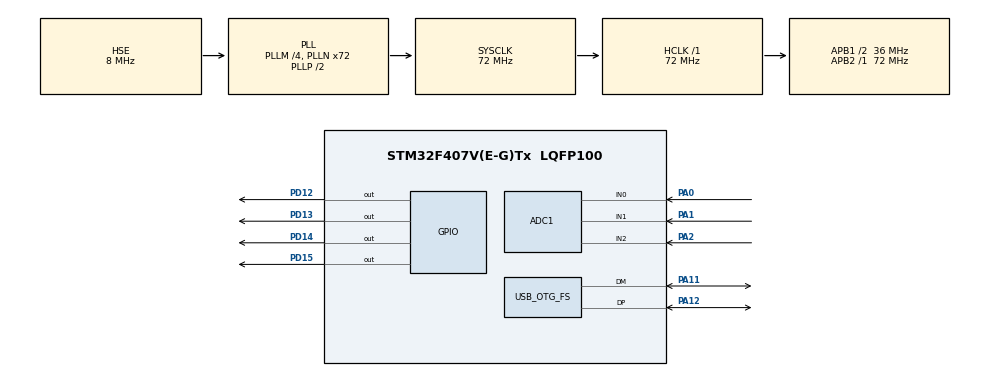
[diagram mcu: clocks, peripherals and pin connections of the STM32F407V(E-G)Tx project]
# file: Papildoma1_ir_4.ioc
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ADC1.Channel-0\#ChannelRegularConversion=ADC_CHANNEL_0
ADC1.NbrOfConversionFlag=1
ADC1.Rank-0\#ChannelRegularConversion=1
ADC1.SamplingTime-0\#ChannelRegularConversion=ADC_SAMPLETIME_3CYCLES
ADC1.master=1
Mcu.Family=STM32F4
Mcu.Name=STM32F407V(E-G)Tx
Mcu.Package=LQFP100
NVIC.OTG_FS_IRQn=true\:0\:0\:false\:false\:true\:false\:true\:true
NVIC.PriorityGroup=NVIC_PRIORITYGROUP_0
PA0-WKUP.Signal=ADCx_IN0
PA1.Signal=ADCx_IN1
PA11.Mode=Device_Only
PA11.Signal=USB_OTG_FS_DM
PA12.Mode=Device_Only
PA12.Signal=USB_OTG_FS_DP
PA2.Signal=ADCx_IN2
PD12.Signal=GPIO_Output
PD13.Signal=GPIO_Output
PD14.Signal=GPIO_Output
PD15.Signal=GPIO_Output
PH0-OSC_IN.Mode=HSE-External-Oscillator
PH0-OSC_IN.Signal=RCC_OSC_IN
PH1-OSC_OUT.Mode=HSE-External-Oscillator
PH1-OSC_OUT.Signal=RCC_OSC_OUT
ProjectManager.HeapSize=0x200
ProjectManager.StackSize=0x400
ProjectManager.TargetToolchain=STM32CubeIDE
RCC.48MHZClocksFreq_Value=48000000
RCC.AHBFreq_Value=72000000
RCC.APB1CLKDivider=RCC_HCLK_DIV2
RCC.APB1Freq_Value=36000000
RCC.APB1TimFreq_Value=72000000
RCC.APB2Freq_Value=72000000
RCC.APB2TimFreq_Value=72000000
RCC.CortexFreq_Value=72000000
RCC.HCLKFreq_Value=72000000
RCC.HSE_VALUE=8000000
RCC.HSI_VALUE=16000000
RCC.LSE_VALUE=32768
RCC.PLLM=4
RCC.PLLN=72
RCC.PLLQ=3
RCC.SYSCLKFreq_VALUE=72000000
RCC.SYSCLKSource=RCC_SYSCLKSOURCE_PLLCLK
RCC.VCOOutputFreq_Value=144000000
SH.ADCx_IN0.0=ADC1_IN0,IN0
SH.ADCx_IN1.0=ADC1_IN1,IN1
SH.ADCx_IN2.0=ADC1_IN2,IN2
USB_DEVICE.CLASS_NAME_FS=CDC
USB_DEVICE.VirtualMode-CDC_FS=Cdc
USB_DEVICE.VirtualModeFS=Cdc_FS
USB_OTG_FS.VirtualMode=Device_Only
VP_USB_DEVICE_VS_USB_DEVICE_CDC_FS.Mode=CDC_FS
board=STM32F407G-DISC1

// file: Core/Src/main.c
/* USER CODE BEGIN Header */
/**
  ****************************************************************************
  * @file           : main.c
  * @brief          : Main program body
  ****************************************************************************
  * @attention
  *
  * Copyright (c) 2024 STMicroelectronics.
  * All rights reserved.
  *
  * This software is licensed under terms that can be found in the LICENSE file
  * in the root directory of this software component.
  * If no LICENSE file comes with this software, it is provided AS-IS.
  *
  ****************************************************************************
  */
/* USER CODE END Header */
#include "main.h"
#include "usb_device.h"

ADC_HandleTypeDef hadc1;

/* USER CODE BEGIN PV */
#define JOYSTICK_BUTTON_PIN GPIO_PIN_2
#define JOYSTICK_BUTTON_GPIO_PORT GPIOA
/* USER CODE END PV */

void SystemClock_Config(void);
static void MX_GPIO_Init(void);
static void MX_ADC1_Init(void);
/* USER CODE BEGIN PFP */
uint32_t readJoystickAxis(ADC_HandleTypeDef* hadc, uint32_t channel) {
    ADC_ChannelConfTypeDef sConfig = {0};
    sConfig.Channel = channel;
    sConfig.Rank = 1;
    sConfig.SamplingTime = ADC_SAMPLETIME_3CYCLES;
    HAL_ADC_ConfigChannel(hadc, &sConfig);
    HAL_ADC_Start(hadc);
    HAL_ADC_PollForConversion(hadc, 100);
    return HAL_ADC_GetValue(hadc);
}
/* USER CODE END PFP */

/* USER CODE BEGIN 0 */
void controlLEDs(uint32_t xValue, uint32_t yValue) {
    // Thresholds might need adjustment
    const uint32_t threshold = 1500; // Example threshold for detecting direction
    const uint32_t centerValue =2048; // Assuming 12-bit ADC, adjust based on your ADC resolution

    // Turn off all LEDs initially
    HAL_GPIO_WritePin(GPIOD, GPIO_PIN_11|GPIO_PIN_12|GPIO_PIN_13|GPIO_PIN_14|GPIO_PIN_15, GPIO_PIN_RESET);

    // right
    if(yValue < centerValue - threshold) {
        HAL_GPIO_WritePin(GPIOD, GPIO_PIN_14, GPIO_PIN_SET);
    }
    // left
    if(yValue > centerValue + threshold) {
        HAL_GPIO_WritePin(GPIOD, GPIO_PIN_12, GPIO_PIN_SET);
    }
    // up
    if(xValue < centerValue - threshold) {
        HAL_GPIO_WritePin(GPIOD, GPIO_PIN_13, GPIO_PIN_SET);
    }
    // back
    if(xValue > centerValue + threshold) {
        HAL_GPIO_WritePin(GPIOD, GPIO_PIN_15, GPIO_PIN_SET);
    }
    // Add more conditions here for diagonals, adjust GPIO_PIN_X accordingly
}

void processJoystick() {
    uint32_t xValue = readJoystickAxis(&hadc1, ADC_CHANNEL_1); // PA1 for VRx
    uint32_t yValue = readJoystickAxis(&hadc1, ADC_CHANNEL_0); // PA0 for VRy
    uint32_t buttonValue = readJoystickAxis(&hadc1, ADC_CHANNEL_2); // Assuming ADC1_IN2 for the button

    // Assuming the button gives low ADC value when pressed due to being grounded
    const uint32_t buttonPressedThreshold = 1000; // Example threshold, adjust based on your setup

    // Process joystick axes
    controlLEDs(xValue, yValue);

    // Check if button is pressed
    if(buttonValue < buttonPressedThreshold) {
        // Button is pressed, light up all LEDs
        HAL_GPIO_WritePin(GPIOD, GPIO_PIN_11|GPIO_PIN_12|GPIO_PIN_13|GPIO_PIN_14|GPIO_PIN_15, GPIO_PIN_SET);
    }
}

/* USER CODE END 0 */

int main(void)
{

  /* MCU Configuration--------------------------------------------------------*/

  /* Reset of all peripherals, Initializes the Flash interface and the Systick. */
  HAL_Init();

  /* Configure the system clock */
  SystemClock_Config();

  /* Initialize all configured peripherals */
  MX_GPIO_Init();
  MX_ADC1_Init();
  MX_USB_DEVICE_Init();
  char buffer1[32]; // Ensure this buffer is large enough for the numeric value and null-terminator
  char buffer2[32]; // Ensure this buffer is large enough for the numeric value and null-terminator
  char buffer3[32]; // Ensure this buffer is large enough for the numeric value and null-terminator
  char buffer[128]={'\0'};
  /* Infinite loop */
  /* USER CODE BEGIN WHILE */
  while (1)
  {
	  // Process joystick input and control LEDs
	      processJoystick();
	      uint32_t xValuePRINT = readJoystickAxis(&hadc1, ADC_CHANNEL_1); // PA1 for VRx
	      uint32_t yValuePRINT = readJoystickAxis(&hadc1, ADC_CHANNEL_0); // PA0 for VRy
	      uint32_t buttonValuePRINT = readJoystickAxis(&hadc1, ADC_CHANNEL_2);

	      // Format the string to include labels and values for X, Y, and Button, followed by a newline
	      sprintf(buffer, "X value: %lu; Y value: %lu; Button Value: %lu\n\r", xValuePRINT, yValuePRINT, buttonValuePRINT);

	      // Transmit the formatted string
	      CDC_Transmit_FS((uint8_t *)buffer, strlen(buffer));
	      // Depending on your application, you might want to introduce a small delay
	      // to avoid overwhelming the CPU, especially if not using interrupts or DMA for ADC readings.
	      HAL_Delay(100); // Delay for 10 milliseconds
    /* USER CODE END WHILE */

  }
}

void SystemClock_Config(void)
{
  RCC_OscInitTypeDef RCC_OscInitStruct = {0};
  RCC_ClkInitTypeDef RCC_ClkInitStruct = {0};

  /** Configure the main internal regulator output voltage
  */
  __HAL_RCC_PWR_CLK_ENABLE();
  __HAL_PWR_VOLTAGESCALING_CONFIG(PWR_REGULATOR_VOLTAGE_SCALE1);

  /** Initializes the RCC Oscillators according to the specified parameters
  * in the RCC_OscInitTypeDef structure.
  */
  RCC_OscInitStruct.OscillatorType = RCC_OSCILLATORTYPE_HSE;
  RCC_OscInitStruct.HSEState = RCC_HSE_ON;
  RCC_OscInitStruct.PLL.PLLState = RCC_PLL_ON;
  RCC_OscInitStruct.PLL.PLLSource = RCC_PLLSOURCE_HSE;
  RCC_OscInitStruct.PLL.PLLM = 4;
  RCC_OscInitStruct.PLL.PLLN = 72;
  RCC_OscInitStruct.PLL.PLLP = RCC_PLLP_DIV2;
  RCC_OscInitStruct.PLL.PLLQ = 3;
  if (HAL_RCC_OscConfig(&RCC_OscInitStruct) != HAL_OK)
  {
    Error_Handler();
  }

  /** Initializes the CPU, AHB and APB buses clocks
  */
  RCC_ClkInitStruct.ClockType = RCC_CLOCKTYPE_HCLK|RCC_CLOCKTYPE_SYSCLK
                              |RCC_CLOCKTYPE_PCLK1|RCC_CLOCKTYPE_PCLK2;
  RCC_ClkInitStruct.SYSCLKSource = RCC_SYSCLKSOURCE_PLLCLK;
  RCC_ClkInitStruct.AHBCLKDivider = RCC_SYSCLK_DIV1;
  RCC_ClkInitStruct.APB1CLKDivider = RCC_HCLK_DIV2;
  RCC_ClkInitStruct.APB2CLKDivider = RCC_HCLK_DIV1;

  if (HAL_RCC_ClockConfig(&RCC_ClkInitStruct, FLASH_LATENCY_2) != HAL_OK)
  {
    Error_Handler();
  }
}

static void MX_ADC1_Init(void)
{

  ADC_ChannelConfTypeDef sConfig = {0};

  /** Configure the global features of the ADC (Clock, Resolution, Data Alignment and number of conversion)
  */
  hadc1.Instance = ADC1;
  hadc1.Init.ClockPrescaler = ADC_CLOCK_SYNC_PCLK_DIV2;
  hadc1.Init.Resolution = ADC_RESOLUTION_12B;
  hadc1.Init.ScanConvMode = DISABLE;
  hadc1.Init.ContinuousConvMode = DISABLE;
  hadc1.Init.DiscontinuousConvMode = DISABLE;
  hadc1.Init.ExternalTrigConvEdge = ADC_EXTERNALTRIGCONVEDGE_NONE;
  hadc1.Init.ExternalTrigConv = ADC_SOFTWARE_START;
  hadc1.Init.DataAlign = ADC_DATAALIGN_RIGHT;
  hadc1.Init.NbrOfConversion = 1;
  hadc1.Init.DMAContinuousRequests = DISABLE;
  hadc1.Init.EOCSelection = ADC_EOC_SINGLE_CONV;
  if (HAL_ADC_Init(&hadc1) != HAL_OK)
  {
    Error_Handler();
  }

  /** Configure for the selected ADC regular channel its corresponding rank in the sequencer and its sample time.
  */
  sConfig.Channel = ADC_CHANNEL_0;
  sConfig.Rank = 1;
  sConfig.SamplingTime = ADC_SAMPLETIME_3CYCLES;
  if (HAL_ADC_ConfigChannel(&hadc1, &sConfig) != HAL_OK)
  {
    Error_Handler();
  }

}

static void MX_GPIO_Init(void)
{
  GPIO_InitTypeDef GPIO_InitStruct = {0};

  /* GPIO Ports Clock Enable */
  __HAL_RCC_GPIOH_CLK_ENABLE();
  __HAL_RCC_GPIOA_CLK_ENABLE();
  __HAL_RCC_GPIOD_CLK_ENABLE();

  /*Configure GPIO pin Output Level */
  HAL_GPIO_WritePin(GPIOD, GPIO_PIN_12|GPIO_PIN_13|GPIO_PIN_14|GPIO_PIN_15, GPIO_PIN_RESET);

  /*Configure GPIO pins : PD12 PD13 PD14 PD15 */
  GPIO_InitStruct.Pin = GPIO_PIN_12|GPIO_PIN_13|GPIO_PIN_14|GPIO_PIN_15;
  GPIO_InitStruct.Mode = GPIO_MODE_OUTPUT_PP;
  GPIO_InitStruct.Pull = GPIO_NOPULL;
  GPIO_InitStruct.Speed = GPIO_SPEED_FREQ_LOW;
  HAL_GPIO_Init(GPIOD, &GPIO_InitStruct);

}

void Error_Handler(void)
{
  __disable_irq();
  while (1)
  {
  }
}
